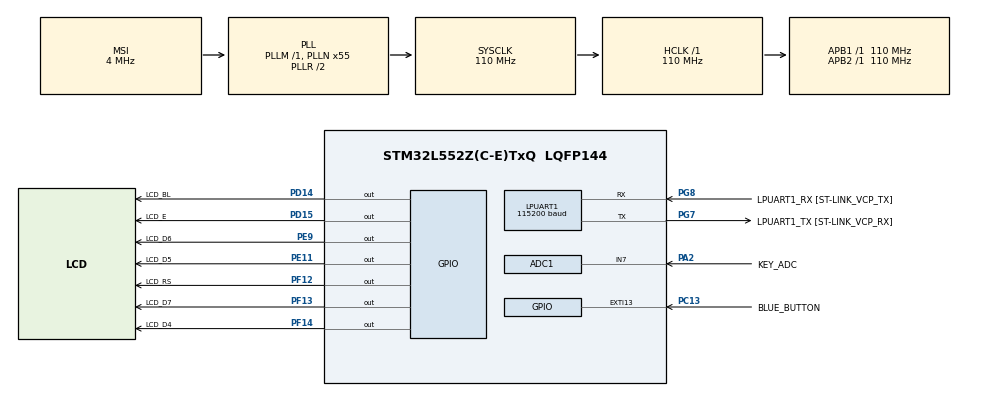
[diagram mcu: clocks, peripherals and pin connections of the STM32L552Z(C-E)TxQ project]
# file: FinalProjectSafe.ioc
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ADC1.Channel-1\#ChannelRegularConversion=ADC_CHANNEL_7
ADC1.NbrOfConversionFlag=1
ADC1.OffsetNumber-1\#ChannelRegularConversion=ADC_OFFSET_NONE
ADC1.Rank-1\#ChannelRegularConversion=1
ADC1.SamplingTime-1\#ChannelRegularConversion=ADC_SAMPLETIME_2CYCLES_5
ADC1.master=1
Dma.LPUART1_TX.0.Channel_PRIV_NPRIV=DMA_CHANNEL_NPRIV_DISABLE
Dma.LPUART1_TX.0.Direction=DMA_MEMORY_TO_PERIPH
Dma.LPUART1_TX.0.EventEnable=DISABLE
Dma.LPUART1_TX.0.Instance=DMA1_Channel1
Dma.LPUART1_TX.0.MemDataAlignment=DMA_MDATAALIGN_BYTE
Dma.LPUART1_TX.0.MemInc=DMA_MINC_ENABLE
Dma.LPUART1_TX.0.Mode=DMA_NORMAL
Dma.LPUART1_TX.0.PeriphDataAlignment=DMA_PDATAALIGN_BYTE
Dma.LPUART1_TX.0.PeriphInc=DMA_PINC_DISABLE
Dma.LPUART1_TX.0.Polarity=HAL_DMAMUX_REQ_GEN_RISING
Dma.LPUART1_TX.0.Priority=DMA_PRIORITY_LOW
Dma.LPUART1_TX.0.RequestNumber=1
Dma.LPUART1_TX.0.SignalID=NONE
Dma.LPUART1_TX.0.SyncEnable=DISABLE
Dma.LPUART1_TX.0.SyncPolarity=HAL_DMAMUX_SYNC_NO_EVENT
Dma.LPUART1_TX.0.SyncRequestNumber=1
Dma.LPUART1_TX.0.SyncSignalID=NONE
Dma.Request0=LPUART1_TX
LPUART1.BaudRate=115200
Mcu.Family=STM32L5
Mcu.Name=STM32L552Z(C-E)TxQ
Mcu.Package=LQFP144
Mcu.TrustZone=disable
NVIC.DMA1_Channel1_IRQn=true\:0\:0\:false\:false\:true\:false\:true\:true
NVIC.EXTI13_IRQn=true\:1\:0\:true\:false\:true\:true\:true\:true
NVIC.LPUART1_IRQn=true\:1\:0\:true\:false\:true\:true\:true\:true
NVIC.PriorityGroup=NVIC_PRIORITYGROUP_3
NVIC.TIM2_IRQn=true\:0\:0\:false\:false\:true\:true\:true\:true
PA13\ (JTMS/SWDIO).Signal=DEBUG_JTMS-SWDIO
PA14\ (JTCK/SWCLK).Signal=DEBUG_JTCK-SWCLK
PA2.GPIO_Label=KEY_ADC
PA2.Signal=ADCx_IN7
PB3\ (JTDO/TRACESWO).Signal=DEBUG_JTDO-SWO
PC13.GPIO_Label=BLUE_BUTTON
PC13.GPIO_ModeDefaultEXTI=GPIO_MODE_IT_RISING_FALLING
PC13.Signal=GPXTI13
PC14-OSC32_IN\ (PC14).Signal=RCC_OSC32_IN
PC15-OSC32_OUT\ (PC15).Signal=RCC_OSC32_OUT
PC7.Signal=S_TIM3_CH2
PD14.GPIO_Label=LCD_BL
PD14.Signal=GPIO_Output
PD15.GPIO_Label=LCD_E
PD15.Signal=GPIO_Output
PE11.GPIO_Label=LCD_D5
PE11.Signal=GPIO_Output
PE9.GPIO_Label=LCD_D6
PE9.Signal=GPIO_Output
PF12.GPIO_Label=LCD_RS
PF12.Signal=GPIO_Output
PF13.GPIO_Label=LCD_D7
PF13.Signal=GPIO_Output
PF14.GPIO_Label=LCD_D4
PF14.Signal=GPIO_Output
PG7.GPIO_Label=LPUART1_TX [ST-LINK_VCP_RX]
PG7.Mode=Asynchronous
PG7.Signal=LPUART1_TX
PG8.GPIO_Label=LPUART1_RX [ST-LINK_VCP_TX]
PG8.Mode=Asynchronous
PG8.Signal=LPUART1_RX
ProjectManager.HeapSize=0x200
ProjectManager.StackSize=0x400
ProjectManager.TargetToolchain=STM32CubeIDE
RCC.ADCCLockSelection=RCC_ADCCLKSOURCE_SYSCLK
RCC.ADCFreq_Value=110000000
RCC.AHBFreq_Value=110000000
RCC.APB1Freq_Value=110000000
RCC.APB1TimFreq_Value=110000000
RCC.APB2Freq_Value=110000000
RCC.APB2TimFreq_Value=110000000
RCC.CK48CLockSelection=RCC_USBCLKSOURCE_HSI48
RCC.CortexFreq_Value=110000000
RCC.HCLKFreq_Value=110000000
RCC.HSE_VALUE=8000000
RCC.HSI48_VALUE=48000000
RCC.HSI_VALUE=16000000
RCC.LSE_VALUE=32768
RCC.MSI_VALUE=4000000
RCC.PLLN=55
RCC.PLLSAI1N=24
RCC.RTCClockSelection=RCC_RTCCLKSOURCE_LSE
RCC.SYSCLKFreq_VALUE=110000000
RCC.SYSCLKSource=RCC_SYSCLKSOURCE_PLLCLK
RCC.USBFreq_Value=48000000
RCC.VCOOutputFreq_Value=220000000
SH.ADCx_IN7.0=ADC1_IN7,IN7-Single-Ended
SH.S_TIM3_CH2.0=TIM3_CH2
TIM2.Period=50000-1
TIM2.Prescaler=11000-1
VP_ICACHE_VS_ICACHE.Mode=DirectMappedCache
VP_PWR_VS_DBSignals.Mode=DisableDeadBatterySignals
VP_PWR_VS_SECSignals.Mode=Security/Privilege
VP_TIM2_VS_ClockSourceINT.Mode=Internal
board=NUCLEO-L552ZE-Q

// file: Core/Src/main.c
/* USER CODE BEGIN Header */

// Maor Mordo & Buraq Yassin

/**
 ******************************************************************************
 * @file           : main.c
 * @brief          : Main program body
 ******************************************************************************
 * @attention
 *
 * Copyright (c) 2025 STMicroelectronics.
 * All rights reserved.
 *
 * This software is licensed under terms that can be found in the LICENSE file
 * in the root directory of this software component.
 * If no LICENSE file comes with this software, it is provided AS-IS.
 *
 ******************************************************************************
 */

/* USER CODE END Header */
#include "main.h"

/* USER CODE BEGIN Includes */

#include <string.h>
#include "lcd.h"

/* USER CODE END Includes */

/* USER CODE BEGIN PTD */

#define UART_TX_BUF_SIZE 256                // The buffer size for passing data
#define CODE_LEN 4                          // master code and user code are exactly 4 digits
#define TIMEOUT_MS 5000                     // 5 seconds for a timeout
#define TIMEOUT_TICKS (TIMEOUT_MS * 10)     // each millisecond is 10 ticks so there is 0.1ms resolution
#define BLUE_RESET_TICKS 20000              // 2 seconds for blue button reset
#define TIMER_PERIOD 60000                  // The timer period for the wrap-around calculation: 0,1,...,N-1 (N=60000)
                                            // It is used for calculating the remaining ticks from start to the wrap
                                            // TIMER_PERIOD - start Plus ticks after wrap up to now

typedef enum {
	SETUP_UART,
	LOCKED_IDLE,
	LOCKED_INPUT,
	UNLOCKED,
	LOCKED_ERROR,
	LOCKED_TIMEOUT
} SafeState;

typedef enum {
	BTN_NONE = 5,   // exists for the state of none button pressed so MUST NOT collide with 0-4
	BTN_SELECT = 0,
	BTN_LEFT = 1,
	BTN_UP = 2,
	BTN_DOWN = 3,
	BTN_RIGHT = 4
} Button;

/* USER CODE END PTD */

/* USER CODE BEGIN PV */

DMA_HandleTypeDef hdma_lpuart1_tx;
ADC_HandleTypeDef hadc1;
UART_HandleTypeDef hlpuart1;
TIM_HandleTypeDef htim2;

static uint8_t uart_tx_buf[UART_TX_BUF_SIZE];
static volatile uint8_t uart_tx_busy = 0;

static volatile uint8_t uart_pending_code_set_msg = 0; // a flag that is used in order to print the "Code set"
                                                       // confirmation message at the right time

static const char uart_code_set_msg[] = "\r\nCode Set! Safe Locked.\r\n";

static volatile SafeState state;

/* Codes */
static uint8_t master_code[CODE_LEN];
static uint8_t user_code[CODE_LEN];

/* Indexes */
static volatile uint8_t uart_index;
static volatile uint8_t input_index;

/* Timing */
static uint32_t t_start;
static volatile uint8_t timeout_latched;

/* UART */
static volatile uint8_t uart_rx;

/* Blue button reset */
static uint32_t blue_btn_start;
static uint8_t blue_pressed;

/* USER CODE END PV */

/* USER CODE BEGIN PFP */

static void MX_DMA_Init(void);
static HAL_StatusTypeDef UART_SendDMA(UART_HandleTypeDef *huart, const uint8_t *data, uint16_t len);
void SystemClock_Config(void);
static void MX_GPIO_Init(void);
static void MX_ICACHE_Init(void);
static void MX_ADC1_Init(void);
static void MX_LPUART1_UART_Init(void);
static void MX_TIM2_Init(void);
static uint16_t ADC_ReadOnce(void);

/* USER CODE END PFP */

/* USER CODE BEGIN 0 */

/* ===== Timer helpers ===== */
static uint32_t TIMER_NOW(void) {
	return __HAL_TIM_GET_COUNTER(&htim2);
}

// returns a value in ticks
static uint32_t ELAPSED(uint32_t start, uint32_t now) {
	if (now >= start) {
		return now - start;
	} else {
		/* Timer wrapped around */
		return (TIMER_PERIOD - start) + now;
	}
}

/* ===== LCD screens ===== */
static void LCD_ShowLockedEmpty(void) {
	LCD_Clear();
	LCD_SetCursor(0, 0);
	LCD_Print("LOCKED");
	LCD_SetCursor(0, 1);
	LCD_Print("CODE:----");
}

static void LCD_ShowProgress(uint8_t pos) {
	LCD_SetCursor(5 + pos, 1);
	LCD_WriteChar('*');
}

static void LCD_ShowUnlocked(void) {
	LCD_Clear();
	LCD_SetCursor(0, 0);
	LCD_Print("UNLOCKED");
	LCD_SetCursor(0, 1);
	LCD_Print("OK");
}

static void LCD_ShowError(void) {
	LCD_Clear();
	LCD_SetCursor(0, 0);
	LCD_Print("LOCKED");
	LCD_SetCursor(0, 1);
	LCD_Print("ERROR");
}

static void LCD_ShowTimeout(void) {
	LCD_Clear();
	LCD_SetCursor(0, 0);
	LCD_Print("LOCKED");
	LCD_SetCursor(0, 1);
	LCD_Print("TIMEOUT");
}

/* ===== Compare codes ===== */
static uint8_t CompareCodes(void) {
	for (uint8_t i = 0; i < CODE_LEN; i++) {
		if (master_code[i] != user_code[i])
			return 0;
	}
	return 1;
}

/* ===== Return to idle after error/timeout ===== */
static void ReturnToLockedIdle(void) {
	input_index = 0;
	timeout_latched = 0;
	state = LOCKED_IDLE;
	LCD_ShowLockedEmpty();
}

/* ===== Read LCD button using ADC (raw) ===== */
static Button Read_LCD_Button_Raw(void) {
	uint16_t adc_value = ADC_ReadOnce();

	if (adc_value < 50) {
		return BTN_RIGHT;
	} else if (adc_value < 500) {
		return BTN_UP;
	} else if (adc_value < 1100) {
		return BTN_DOWN;
	} else if (adc_value < 1600) {
		return BTN_LEFT;
	} else if (adc_value < 2500) {
		return BTN_SELECT;
	} else {
		return BTN_NONE;
	}
}

/* ===== Buttons handler with edge detect ===== */
static void CheckButtons(void) {
	static Button last_btn = BTN_NONE;
	Button current = Read_LCD_Button_Raw();

	if ((current != BTN_NONE) && (last_btn == BTN_NONE)) {

		if ((state == LOCKED_ERROR) || (state == LOCKED_TIMEOUT)) {

			ReturnToLockedIdle();

		} else if ((state == LOCKED_IDLE) || (state == LOCKED_INPUT)) {

			if (state == LOCKED_IDLE) {
				state = LOCKED_INPUT;
				t_start = TIMER_NOW();
				input_index = 0;
				timeout_latched = 0;
				LCD_ShowLockedEmpty();
			}

			if (input_index < CODE_LEN) {
				user_code[input_index] = (uint8_t) current;
				LCD_ShowProgress(input_index);
				input_index++;

				if (input_index == CODE_LEN) {
					if (CompareCodes()) {
						state = UNLOCKED;
						LCD_ShowUnlocked();
					} else {
						state = LOCKED_ERROR;
						LCD_ShowError();
					}
				}
			}

		}
	}

	last_btn = current;
}

/* ===== Logical reset ===== */
static void Safe_Reset(void) {
	state = SETUP_UART;
	uart_index = 0;
	input_index = 0;
	timeout_latched = 0;
	blue_pressed = 0;

	char banner[] =
	        "\r\nSET CODE (4 digits, 0-4):\r\n"
	        "0=SELECT,\r\n"
	        "1=LEFT,\r\n"
	        "2=UP,\r\n"
	        "3=DOWN,\r\n"
	        "4=RIGHT\r\n";

	UART_SendDMA(&hlpuart1, (const uint8_t*)banner, (uint16_t)(sizeof(banner) - 1));

	/* Start UART receive interrupt */
	HAL_UART_Receive_IT(&hlpuart1, (uint8_t*) &uart_rx, 1);
}

/* USER CODE END 0 */

int main(void) {

	/* MCU Configuration--------------------------------------------------------*/

	/* Reset of all peripherals, Initializes the Flash interface and the Systick. */
	HAL_Init();

	/* Configure the system clock */
	SystemClock_Config();

	/* Initialize all configured peripherals */
	MX_DMA_Init();
	MX_GPIO_Init();
	MX_ICACHE_Init();
	MX_ADC1_Init();
	MX_LPUART1_UART_Init();
	MX_TIM2_Init();

	/* USER CODE BEGIN 2 */

	LCD_Init();

	/* ADC calibration (recommended once at startup) */
	(void) HAL_ADCEx_Calibration_Start(&hadc1, ADC_SINGLE_ENDED);

	/* Start TIM2 for time measurement */
	HAL_TIM_Base_Start(&htim2);

	/* Initialize safe - show banner and start UART receive */
	Safe_Reset();

	/* USER CODE END 2 */

	/* Infinite loop */
	while (1) {

		/* USER CODE BEGIN 3 */

		/* Send pending UART confirmations (non-blocking) */
		if (uart_pending_code_set_msg && (uart_tx_busy == 0)) {
			uart_pending_code_set_msg = 0;
			UART_SendDMA(&hlpuart1,
					(const uint8_t*)uart_code_set_msg,
					(uint16_t)(sizeof(uart_code_set_msg) - 1));
		}

		/* Check timeout */
		if ((state == LOCKED_INPUT) && (timeout_latched == 0)) {
			if (ELAPSED(t_start, TIMER_NOW()) > TIMEOUT_TICKS) {
				timeout_latched = 1;
				state = LOCKED_TIMEOUT;
				LCD_ShowTimeout();
			}
		}

		/* Check LCD buttons */
		CheckButtons();

		/* Blue button long press detection (polled) */
		if (HAL_GPIO_ReadPin(BLUE_BUTTON_GPIO_Port, BLUE_BUTTON_Pin) == GPIO_PIN_SET) {
			if (blue_pressed == 0) {
				blue_pressed = 1;
				blue_btn_start = TIMER_NOW();
			} else {
				if (ELAPSED(blue_btn_start, TIMER_NOW()) > BLUE_RESET_TICKS) {
					/* Long press detected - reset to LOCKED state (preserve master code) */
					if (state != SETUP_UART) {
						ReturnToLockedIdle();
					}
					blue_pressed = 0; /* Reset to allow new detection */
				}
			}
		} else {
			blue_pressed = 0;
		}
	}

	/* USER CODE END 3 */
}

void SystemClock_Config(void) {
	RCC_OscInitTypeDef RCC_OscInitStruct = { 0 };
	RCC_ClkInitTypeDef RCC_ClkInitStruct = { 0 };

	/** Configure the main internal regulator output voltage */
	if (HAL_PWREx_ControlVoltageScaling(PWR_REGULATOR_VOLTAGE_SCALE0) != HAL_OK) {
		Error_Handler();
	}

	/** Initializes the RCC Oscillators according to the specified parameters
	 * in the RCC_OscInitTypeDef structure. */
	RCC_OscInitStruct.OscillatorType = RCC_OSCILLATORTYPE_MSI;
	RCC_OscInitStruct.MSIState = RCC_MSI_ON;
	RCC_OscInitStruct.MSICalibrationValue = RCC_MSICALIBRATION_DEFAULT;
	RCC_OscInitStruct.MSIClockRange = RCC_MSIRANGE_6;
	RCC_OscInitStruct.PLL.PLLState = RCC_PLL_ON;
	RCC_OscInitStruct.PLL.PLLSource = RCC_PLLSOURCE_MSI;
	RCC_OscInitStruct.PLL.PLLM = 1;
	RCC_OscInitStruct.PLL.PLLN = 55;
	RCC_OscInitStruct.PLL.PLLP = RCC_PLLP_DIV7;
	RCC_OscInitStruct.PLL.PLLQ = RCC_PLLQ_DIV2;
	RCC_OscInitStruct.PLL.PLLR = RCC_PLLR_DIV2;
	if (HAL_RCC_OscConfig(&RCC_OscInitStruct) != HAL_OK) {
		Error_Handler();
	}

	/** Initializes the CPU, AHB and APB buses clocks */
	RCC_ClkInitStruct.ClockType = RCC_CLOCKTYPE_HCLK | RCC_CLOCKTYPE_SYSCLK
			| RCC_CLOCKTYPE_PCLK1 | RCC_CLOCKTYPE_PCLK2;
	RCC_ClkInitStruct.SYSCLKSource = RCC_SYSCLKSOURCE_PLLCLK;
	RCC_ClkInitStruct.AHBCLKDivider = RCC_SYSCLK_DIV1;
	RCC_ClkInitStruct.APB1CLKDivider = RCC_HCLK_DIV1;
	RCC_ClkInitStruct.APB2CLKDivider = RCC_HCLK_DIV1;

	if (HAL_RCC_ClockConfig(&RCC_ClkInitStruct, FLASH_LATENCY_5) != HAL_OK) {
		Error_Handler();
	}
}

static void MX_ADC1_Init(void) {

	ADC_MultiModeTypeDef multimode = { 0 };
	ADC_ChannelConfTypeDef sConfig = { 0 };

	/** Common config */
	hadc1.Instance = ADC1;
	hadc1.Init.ClockPrescaler = ADC_CLOCK_ASYNC_DIV1;
	hadc1.Init.Resolution = ADC_RESOLUTION_12B;
	hadc1.Init.DataAlign = ADC_DATAALIGN_RIGHT;
	hadc1.Init.ScanConvMode = ADC_SCAN_DISABLE;
	hadc1.Init.EOCSelection = ADC_EOC_SINGLE_CONV;
	hadc1.Init.LowPowerAutoWait = DISABLE;
	hadc1.Init.ContinuousConvMode = DISABLE;
	hadc1.Init.NbrOfConversion = 1;
	hadc1.Init.DiscontinuousConvMode = DISABLE;
	hadc1.Init.ExternalTrigConv = ADC_SOFTWARE_START;
	hadc1.Init.ExternalTrigConvEdge = ADC_EXTERNALTRIGCONVEDGE_NONE;
	hadc1.Init.DMAContinuousRequests = DISABLE;
	hadc1.Init.Overrun = ADC_OVR_DATA_PRESERVED;
	hadc1.Init.OversamplingMode = DISABLE;
	if (HAL_ADC_Init(&hadc1) != HAL_OK) {
		Error_Handler();
	}

	/** Configure the ADC multi-mode */
	multimode.Mode = ADC_MODE_INDEPENDENT;
	if (HAL_ADCEx_MultiModeConfigChannel(&hadc1, &multimode) != HAL_OK) {
		Error_Handler();
	}

	/** Configure Regular Channel */
	sConfig.Channel = ADC_CHANNEL_7;
	sConfig.Rank = ADC_REGULAR_RANK_1;
	sConfig.SamplingTime = ADC_SAMPLETIME_2CYCLES_5;
	sConfig.SingleDiff = ADC_SINGLE_ENDED;
	sConfig.OffsetNumber = ADC_OFFSET_NONE;
	sConfig.Offset = 0;
	if (HAL_ADC_ConfigChannel(&hadc1, &sConfig) != HAL_OK) {
		Error_Handler();
	}

}

static void MX_ICACHE_Init(void) {

	/** Enable instruction cache in 1-way (direct mapped cache) */
	if (HAL_ICACHE_ConfigAssociativityMode(ICACHE_1WAY) != HAL_OK) {
		Error_Handler();
	}
	if (HAL_ICACHE_Enable() != HAL_OK) {
		Error_Handler();
	}

}

static void MX_LPUART1_UART_Init(void) {

	hlpuart1.Instance = LPUART1;
	hlpuart1.Init.BaudRate = 115200;
	hlpuart1.Init.WordLength = UART_WORDLENGTH_8B;
	hlpuart1.Init.StopBits = UART_STOPBITS_1;
	hlpuart1.Init.Parity = UART_PARITY_NONE;
	hlpuart1.Init.Mode = UART_MODE_TX_RX;
	hlpuart1.Init.HwFlowCtl = UART_HWCONTROL_NONE;
	hlpuart1.Init.OneBitSampling = UART_ONE_BIT_SAMPLE_DISABLE;
	hlpuart1.Init.ClockPrescaler = UART_PRESCALER_DIV1;
	hlpuart1.AdvancedInit.AdvFeatureInit = UART_ADVFEATURE_NO_INIT;
	hlpuart1.FifoMode = UART_FIFOMODE_DISABLE;
	if (HAL_UART_Init(&hlpuart1) != HAL_OK) {
		Error_Handler();
	}
	if (HAL_UARTEx_SetTxFifoThreshold(&hlpuart1, UART_TXFIFO_THRESHOLD_1_8) != HAL_OK) {
		Error_Handler();
	}
	if (HAL_UARTEx_SetRxFifoThreshold(&hlpuart1, UART_RXFIFO_THRESHOLD_1_8) != HAL_OK) {
		Error_Handler();
	}
	if (HAL_UARTEx_DisableFifoMode(&hlpuart1) != HAL_OK) {
		Error_Handler();
	}

}

static void MX_TIM2_Init(void) {

	TIM_ClockConfigTypeDef sClockSourceConfig = { 0 };
	TIM_MasterConfigTypeDef sMasterConfig = { 0 };

	htim2.Instance = TIM2;
	htim2.Init.Prescaler = 11000 - 1;
	htim2.Init.CounterMode = TIM_COUNTERMODE_UP;
	htim2.Init.Period = 60000 - 1;
	htim2.Init.ClockDivision = TIM_CLOCKDIVISION_DIV1;
	htim2.Init.AutoReloadPreload = TIM_AUTORELOAD_PRELOAD_DISABLE;
	if (HAL_TIM_Base_Init(&htim2) != HAL_OK) {
		Error_Handler();
	}
	sClockSourceConfig.ClockSource = TIM_CLOCKSOURCE_INTERNAL;
	if (HAL_TIM_ConfigClockSource(&htim2, &sClockSourceConfig) != HAL_OK) {
		Error_Handler();
	}
	sMasterConfig.MasterOutputTrigger = TIM_TRGO_RESET;
	sMasterConfig.MasterSlaveMode = TIM_MASTERSLAVEMODE_DISABLE;
	if (HAL_TIMEx_MasterConfigSynchronization(&htim2, &sMasterConfig) != HAL_OK) {
		Error_Handler();
	}

}

static void MX_GPIO_Init(void) {
	GPIO_InitTypeDef GPIO_InitStruct = { 0 };

	/* GPIO Ports Clock Enable */
	__HAL_RCC_GPIOC_CLK_ENABLE();
	__HAL_RCC_GPIOA_CLK_ENABLE();
	__HAL_RCC_GPIOF_CLK_ENABLE();
	__HAL_RCC_GPIOE_CLK_ENABLE();
	__HAL_RCC_GPIOD_CLK_ENABLE();
	__HAL_RCC_GPIOG_CLK_ENABLE();
	HAL_PWREx_EnableVddIO2();
	__HAL_RCC_GPIOB_CLK_ENABLE();

	/* Configure GPIO pin Output Level */
	HAL_GPIO_WritePin(GPIOF, LCD_RS_Pin | LCD_D7_Pin | LCD_D4_Pin, GPIO_PIN_RESET);

	/* Configure GPIO pin Output Level */
	HAL_GPIO_WritePin(GPIOE, LCD_D6_Pin | LCD_D5_Pin, GPIO_PIN_RESET);

	/* Configure GPIO pin Output Level */
	HAL_GPIO_WritePin(GPIOD, LCD_BL_Pin | LCD_E_Pin, GPIO_PIN_RESET);

	/* Configure GPIO pin : BLUE_BUTTON_Pin (simple input, polled) */
	GPIO_InitStruct.Pin = BLUE_BUTTON_Pin;
	GPIO_InitStruct.Mode = GPIO_MODE_INPUT;
	GPIO_InitStruct.Pull = GPIO_NOPULL;
	HAL_GPIO_Init(BLUE_BUTTON_GPIO_Port, &GPIO_InitStruct);

	/* Configure GPIO pins : LCD_RS_Pin LCD_D7_Pin LCD_D4_Pin */
	GPIO_InitStruct.Pin = LCD_RS_Pin | LCD_D7_Pin | LCD_D4_Pin;
	GPIO_InitStruct.Mode = GPIO_MODE_OUTPUT_PP;
	GPIO_InitStruct.Pull = GPIO_NOPULL;
	GPIO_InitStruct.Speed = GPIO_SPEED_FREQ_LOW;
	HAL_GPIO_Init(GPIOF, &GPIO_InitStruct);

	/* Configure GPIO pins : LCD_D6_Pin LCD_D5_Pin */
	GPIO_InitStruct.Pin = LCD_D6_Pin | LCD_D5_Pin;
	GPIO_InitStruct.Mode = GPIO_MODE_OUTPUT_PP;
	GPIO_InitStruct.Pull = GPIO_NOPULL;
	GPIO_InitStruct.Speed = GPIO_SPEED_FREQ_LOW;
	HAL_GPIO_Init(GPIOE, &GPIO_InitStruct);

	/* Configure GPIO pins : LCD_BL_Pin LCD_E_Pin */
	GPIO_InitStruct.Pin = LCD_BL_Pin | LCD_E_Pin;
	GPIO_InitStruct.Mode = GPIO_MODE_OUTPUT_PP;
	GPIO_InitStruct.Pull = GPIO_NOPULL;
	GPIO_InitStruct.Speed = GPIO_SPEED_FREQ_LOW;
	HAL_GPIO_Init(GPIOD, &GPIO_InitStruct);

}

static void MX_DMA_Init(void)
{
  /* DMA controller clock enable */
  __HAL_RCC_DMAMUX1_CLK_ENABLE();
  __HAL_RCC_DMA1_CLK_ENABLE();

  /* DMA interrupt init */
  /* DMA1_Channel1_IRQn interrupt configuration */
  HAL_NVIC_SetPriority(DMA1_Channel1_IRQn, 0, 0);
  HAL_NVIC_EnableIRQ(DMA1_Channel1_IRQn);
}
/* USER CODE BEGIN 4 */

/* Send data via UART DMA */
static HAL_StatusTypeDef UART_SendDMA(UART_HandleTypeDef *huart,
                                      const uint8_t *data,
                                      uint16_t len)
{
    if (len == 0U)
        return HAL_OK;

    /* Copy to buffer */
    if (len > UART_TX_BUF_SIZE)
        len = UART_TX_BUF_SIZE;

    if (uart_tx_busy)
        return HAL_BUSY;

    memcpy(uart_tx_buf, data, len);

    uart_tx_busy = 1U;
    HAL_StatusTypeDef st = HAL_UART_Transmit_DMA(huart, uart_tx_buf, len);
    if (st != HAL_OK)
    {
        uart_tx_busy = 0U;
    }
    return st;
}

/**
 * @brief Read ADC value once
 * @retval ADC value (0-4095)
 */
static uint16_t ADC_ReadOnce(void) {
	uint16_t value = 0;
	if (HAL_ADC_Start(&hadc1) == HAL_OK) {
		if (HAL_ADC_PollForConversion(&hadc1, 10) == HAL_OK) {
			value = (uint16_t) HAL_ADC_GetValue(&hadc1);
		}
		(void) HAL_ADC_Stop(&hadc1);
	}
	return value;
}

/**
 * @brief UART Rx Complete Callback
 * @param huart UART handle
 */
void HAL_UART_RxCpltCallback(UART_HandleTypeDef *huart) {
	if (huart->Instance != LPUART1) {
		return;
	}

	/* Only process UART input during SETUP_UART state */
	if (state == SETUP_UART) {
		if ((uart_rx >= '0') && (uart_rx <= '4')) {

			// (X - '0') is a standard C trick to convert an ASCII digit character into its numeric value
			// '0' - '0' = 48 - 48 = 0
            // '1' - '0' = 49 - 48 = 1
			// '4' - '0' = 52 - 48 = 4
			master_code[uart_index++] = (uint8_t) (uart_rx - '0');

			/* Echo the received character (non-blocking DMA) */
			UART_SendDMA(&hlpuart1, (const uint8_t*)&uart_rx, 1);

			if (uart_index == CODE_LEN) {
				input_index = 0;
				timeout_latched = 0;

				state = LOCKED_IDLE;
				LCD_ShowLockedEmpty();

				uart_pending_code_set_msg = 1;

				return;
			}
		}

		HAL_UART_Receive_IT(&hlpuart1, (uint8_t*) &uart_rx, 1);
	}
}

/* TX done - clear busy flag */
void HAL_UART_TxCpltCallback(UART_HandleTypeDef *huart)
{
    if (huart->Instance == LPUART1)
    {
        uart_tx_busy = 0;
    }
}

/* UART error - clear busy flag */
void HAL_UART_ErrorCallback(UART_HandleTypeDef *huart)
{
    if (huart->Instance == LPUART1)
    {
        uart_tx_busy = 0;
    }
}

/* USER CODE END 4 */

void Error_Handler(void) {
	__disable_irq();
	while (1) {
	}
}
